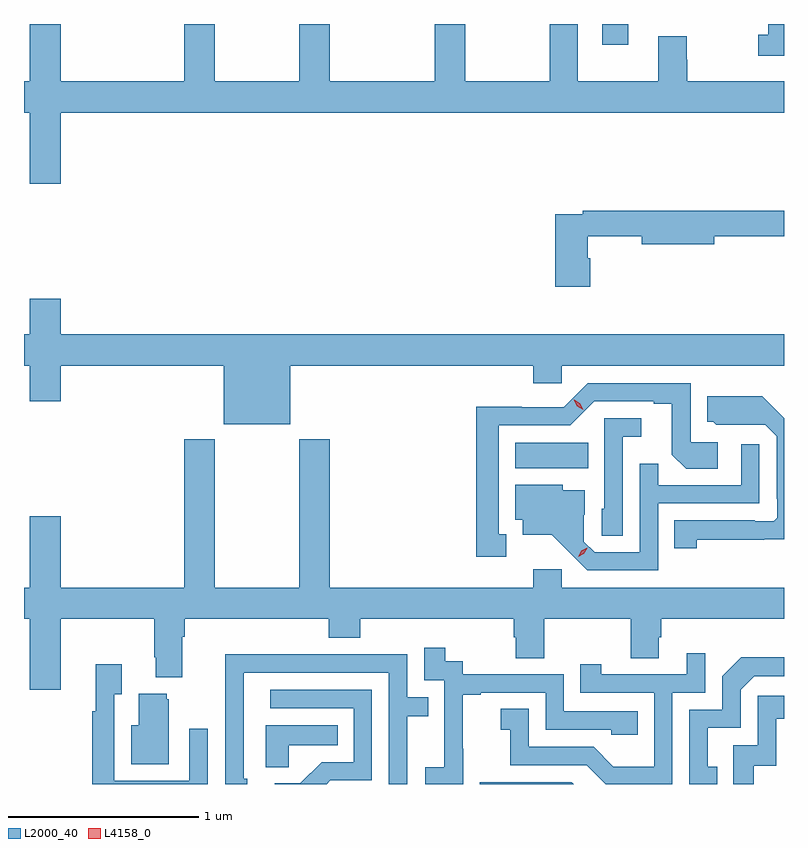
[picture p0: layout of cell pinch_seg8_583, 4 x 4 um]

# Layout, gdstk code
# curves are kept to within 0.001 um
import gdstk
lib = gdstk.Library(unit=1e-6, precision=1e-09)
def R(c, l, rs):  # rectangles x0, y0, x1, y1
    for r in rs: c.add(gdstk.rectangle(r[:2], r[2:], *l))
def P(c, l, *ps):  # polygons
    for p in ps: c.add(gdstk.Polygon(p, *l))
L2000_40 = (2000, 40)
L4158_0 = (4158, 0)

pinch_seg8_583 = lib.new_cell('pinch_seg8_583')
R(pinch_seg8_583, L2000_40, [(114.506,1085.324,114.89,1085.458), (114.963,1087.554,115.099,1087.662)])
P(pinch_seg8_583, L2000_40, [(112.114,1087.196),(115.92,1087.196),(115.92,1087.36),(115.412,1087.36),(115.412,1087.473),(115.407,1087.473),(115.407,1087.598),(115.259,1087.598),(115.259,1087.36),(114.835,1087.36),(114.835,1087.662),(114.688,1087.662),(114.688,1087.36),(114.243,1087.36),(114.243,1087.662),(114.083,1087.662),(114.083,1087.36),(113.528,1087.36),(113.528,1087.662),(113.368,1087.662),(113.368,1087.36),(112.923,1087.36),(112.923,1087.662),(112.763,1087.662),(112.763,1087.36),(112.114,1087.36),(112.114,1087.662),(111.95,1087.662),(111.95,1087.36),(111.92,1087.36),(111.92,1087.196),(111.95,1087.196),(111.95,1086.822),(112.114,1086.822)],
  [(115.92,1087.662),(115.836,1087.662),(115.836,1087.606),(115.785,1087.606),(115.785,1087.496),(115.92,1087.496)],
  [(114.899,1086.429),(114.886,1086.429),(114.886,1086.544),(115.172,1086.544),(115.172,1086.502),(115.552,1086.502),(115.552,1086.544),(115.92,1086.544),(115.92,1086.68),(114.862,1086.68),(114.862,1086.66),(114.716,1086.66),(114.716,1086.279),(114.899,1086.279)],
  [(113.32,1085.864),(114.599,1085.864),(114.599,1085.771),(114.75,1085.771),(114.75,1085.864),(115.92,1085.864),(115.92,1086.028),(112.114,1086.028),(112.114,1086.217),(111.95,1086.217),(111.95,1086.028),(111.92,1086.028),(111.92,1085.864),(111.95,1085.864),(111.95,1085.676),(112.114,1085.676),(112.114,1085.864),(112.97,1085.864),(112.97,1085.555),(113.32,1085.555)],
  [(114.457,1084.977),(114.418,1084.977),(114.418,1085.55),(114.795,1085.55),(114.921,1085.676),(115.235,1085.676),(115.235,1085.664),(115.329,1085.664),(115.329,1085.396),(115.405,1085.32),(115.57,1085.32),(115.57,1085.46),(115.428,1085.46),(115.428,1085.772),(114.888,1085.772),(114.762,1085.646),(114.54,1085.646),(114.54,1085.648),(114.3,1085.648),(114.3,1084.857),(114.457,1084.857)],
  [(115.461,1084.948),(115.817,1084.948),(115.918,1084.949),(115.92,1084.951),(115.92,1085.588),(115.805,1085.704),(115.517,1085.704),(115.517,1085.568),(115.548,1085.568),(115.564,1085.552),(115.821,1085.553),(115.881,1085.493),(115.881,1085.164),(115.884,1085.164),(115.884,1085.064),(115.866,1085.046),(115.766,1085.046),(115.766,1085.049),(115.342,1085.049),(115.342,1084.902),(115.461,1084.902)],
  [(115.071,1085.489),(115.168,1085.489),(115.168,1085.586),(114.975,1085.586),(114.975,1085.112),(114.96,1085.112),(114.96,1084.969),(115.071,1084.969)],
  [(112.114,1084.532),(112.606,1084.532),(112.606,1084.33),(112.613,1084.33),(112.613,1084.223),(112.753,1084.223),(112.753,1084.436),(112.766,1084.436),(112.766,1084.532),(113.525,1084.532),(113.525,1084.433),(113.69,1084.433),(113.69,1084.532),(114.497,1084.532),(114.497,1084.434),(114.509,1084.434),(114.509,1084.324),(114.657,1084.324),(114.657,1084.532),(115.114,1084.532),(115.114,1084.324),(115.261,1084.324),(115.261,1084.434),(115.274,1084.434),(115.274,1084.532),(115.92,1084.532),(115.92,1084.696),(114.75,1084.696),(114.75,1084.792),(114.599,1084.792),(114.599,1084.696),(113.528,1084.696),(113.528,1085.476),(113.368,1085.476),(113.368,1084.696),(112.923,1084.696),(112.923,1085.476),(112.763,1085.476),(112.763,1084.696),(112.114,1084.696),(112.114,1085.071),(111.95,1085.071),(111.95,1084.696),(111.92,1084.696),(111.92,1084.532),(111.95,1084.532),(111.95,1084.158),(112.114,1084.158)],
  [(115.257,1085.139),(115.791,1085.139),(115.791,1085.449),(115.695,1085.449),(115.695,1085.235),(115.259,1085.235),(115.259,1085.348),(115.161,1085.348),(115.161,1084.881),(114.924,1084.881),(114.867,1084.938),(114.867,1085.08),(114.871,1085.08),(114.871,1085.209),(114.756,1085.209),(114.756,1085.236),(114.506,1085.236),(114.506,1085.052),(114.545,1085.052),(114.545,1084.973),(114.697,1084.973),(114.884,1084.788),(115.257,1084.788)],
  [(114.231,1083.847),(114.23,1083.847),(114.23,1084.131),(114.325,1084.131),(114.325,1084.143),(114.666,1084.143),(114.666,1083.948),(115.011,1083.948),(115.011,1083.921),(115.151,1083.921),(115.151,1084.044),(114.762,1084.044),(114.762,1084.239),(114.228,1084.239),(114.228,1084.308),(114.136,1084.308),(114.136,1084.378),(114.027,1084.378),(114.027,1084.209),(114.132,1084.209),(114.132,1083.98),(114.131,1083.98),(114.131,1083.751),(114.033,1083.751),(114.033,1083.662),(114.231,1083.662)],
  [(115.332,1084.143),(115.506,1084.143),(115.506,1084.351),(115.409,1084.351),(115.409,1084.239),(114.958,1084.239),(114.958,1084.291),(114.847,1084.291),(114.847,1084.143),(115.236,1084.143),(115.236,1083.754),(115.022,1083.754),(114.918,1083.858),(114.576,1083.858),(114.576,1084.057),(114.429,1084.057),(114.429,1083.947),(114.478,1083.947),(114.478,1083.762),(114.881,1083.762),(114.981,1083.662),(115.332,1083.662)],
  [(113.095,1083.69),(113.076,1083.69),(113.076,1084.248),(113.841,1084.248),(113.841,1083.662),(113.937,1083.662),(113.937,1084.018),(114.047,1084.018),(114.047,1084.119),(113.937,1084.119),(113.937,1084.344),(113.441,1084.344),(113.441,1084.346),(112.978,1084.346),(112.978,1084.039),(112.98,1084.039),(112.98,1083.662),(113.095,1083.662)],
  [(115.568,1083.753),(115.519,1083.753),(115.519,1083.957),(115.692,1083.957),(115.692,1084.158),(115.764,1084.23),(115.92,1084.23),(115.92,1084.328),(115.694,1084.328),(115.596,1084.23),(115.596,1084.053),(115.422,1084.053),(115.422,1083.662),(115.568,1083.662)],
  [(112.887,1083.952),(112.791,1083.952),(112.791,1083.678),(112.395,1083.678),(112.395,1084.135),(112.435,1084.135),(112.435,1084.291),(112.298,1084.291),(112.298,1084.046),(112.279,1084.046),(112.279,1083.662),(112.887,1083.662)],
  [(113.532,1083.681),(113.751,1083.681),(113.751,1084.158),(113.217,1084.158),(113.217,1084.062),(113.655,1084.062),(113.655,1083.777),(113.486,1083.777),(113.375,1083.666),(113.241,1083.666),(113.241,1083.662),(113.513,1083.662)],
  [(112.681,1084.107),(112.67,1084.107),(112.67,1084.138),(112.523,1084.138),(112.523,1083.97),(112.484,1083.97),(112.484,1083.767),(112.681,1083.767)],
  [(115.762,1083.759),(115.88,1083.759),(115.88,1084.005),(115.92,1084.005),(115.92,1084.126),(115.782,1084.126),(115.782,1083.867),(115.653,1083.867),(115.653,1083.662),(115.762,1083.662)],
  [(113.313,1083.866),(113.57,1083.866),(113.57,1083.97),(113.192,1083.97),(113.192,1083.751),(113.313,1083.751)],
  [(114.804,1083.672),(114.318,1083.672),(114.318,1083.662),(114.814,1083.662)])
P(pinch_seg8_583, L4158_0, [(114.836,1084.859),(114.836,1084.859),(114.853,1084.889),(114.884,1084.905),(114.884,1084.905),(114.884,1084.904),(114.867,1084.875),(114.836,1084.859)],
  [(114.864,1085.632),(114.832,1085.651),(114.814,1085.684),(114.814,1085.684),(114.815,1085.684),(114.846,1085.665),(114.864,1085.632),(114.864,1085.632)])

lib.write_gds('pinch_seg8_583.gds')
